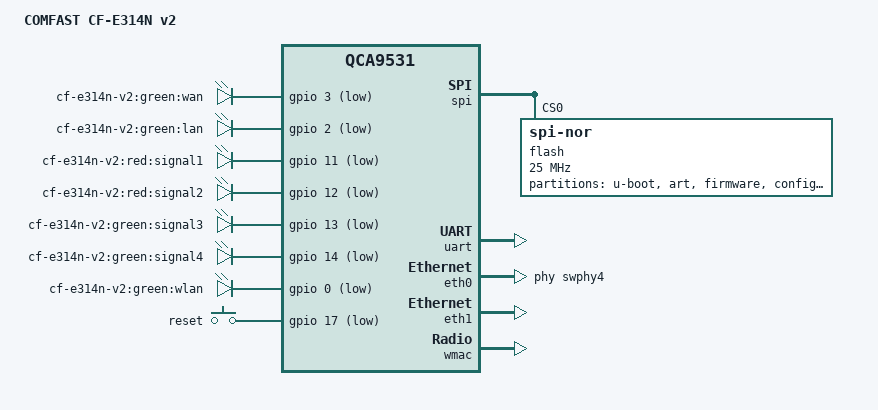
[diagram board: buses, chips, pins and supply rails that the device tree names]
// SPDX-License-Identifier: GPL-2.0-or-later OR MIT
/dts-v1/;

#include <dt-bindings/gpio/gpio.h>
#include <dt-bindings/input/input.h>

#include "qca953x.dtsi"

/ {
	compatible = "comfast,cf-e314n-v2", "qca,qca9531";
	model = "COMFAST CF-E314N v2";

	aliases {
		serial0 = &uart;
		led-boot = &led_rssihigh;
		led-failsafe = &led_rssihigh;
		led-upgrade = &led_rssihigh;
	};

	leds {
		compatible = "gpio-leds";

		pinctrl-names = "default";
		pinctrl-0 = <&jtag_disable_pins &led_rssilow_pin &led_rssimediumhigh_pin &led_rssihigh_pin>;

		wan {
			label = "cf-e314n-v2:green:wan";
			gpios = <&gpio 3 GPIO_ACTIVE_LOW>;
		};

		lan {
			label = "cf-e314n-v2:green:lan";
			gpios = <&gpio 2 GPIO_ACTIVE_LOW>;
		};

		rssilow {
			label = "cf-e314n-v2:red:signal1";
			gpios = <&gpio 11 GPIO_ACTIVE_LOW>;
		};

		rssimediumlow {
			label = "cf-e314n-v2:red:signal2";
			gpios = <&gpio 12 GPIO_ACTIVE_LOW>;
		};

		rssimediumhigh {
			label = "cf-e314n-v2:green:signal3";
			gpios = <&gpio 13 GPIO_ACTIVE_LOW>;
		};

		led_rssihigh: rssihigh {
			label = "cf-e314n-v2:green:signal4";
			gpios = <&gpio 14 GPIO_ACTIVE_LOW>;
		};

		wlan {
			label = "cf-e314n-v2:green:wlan";
			gpios = <&gpio 0 GPIO_ACTIVE_LOW>;
			linux,default-trigger = "phy0tpt";
		};
	};

	keys {
		compatible = "gpio-keys";

		reset {
			label = "reset";
			linux,code = <KEY_RESTART>;
			gpios = <&gpio 17 GPIO_ACTIVE_LOW>;
			debounce-interval = <60>;
		};
	};
};

&pinmux {
	led_rssilow_pin: pinmux_rssilow_pin {
		pinctrl-single,bits = <0x8 0x0 0xff000000>;
	};

	led_rssimediumhigh_pin: pinmux_rssimediumhigh_pin {
		pinctrl-single,bits = <0xc 0x0 0x00ff0000>;
	};

	led_rssihigh_pin: pinmux_rssihigh_pin {
		pinctrl-single,bits = <0x10 0x0 0x000000ff>;
	};
};

&spi {
	status = "okay";
	num-cs = <1>;

	flash@0 {
		compatible = "jedec,spi-nor";
		reg = <0>;
		spi-max-frequency = <25000000>;

		partitions {
			compatible = "fixed-partitions";
			#address-cells = <1>;
			#size-cells = <1>;

			partition@0 {
				label = "u-boot";
				reg = <0x000000 0x010000>;
				read-only;
			};

			art: partition@10000 {
				label = "art";
				reg = <0x010000 0x010000>;
				read-only;
			};

			partition@20000 {
				compatible = "denx,uimage";
				label = "firmware";
				reg = <0x020000 0x7c0000>;
			};

			partition@7e0000 {
				label = "configs";
				reg = <0x7e0000 0x010000>;
				read-only;
			};

			partition@7f0000 {
				label = "nvram";
				reg = <0x7f0000 0x010000>;
				read-only;
			};
		};
	};
};

&uart {
	status = "okay";
};

&eth0 {
	status = "okay";
	mtd-mac-address = <&art 0x0>;
	phy-handle = <&swphy4>;
};

&eth1 {
	status = "okay";
	mtd-mac-address = <&art 0x6>;
};

&wmac {
	status = "okay";
	mtd-cal-data = <&art 0x1000>;
};
